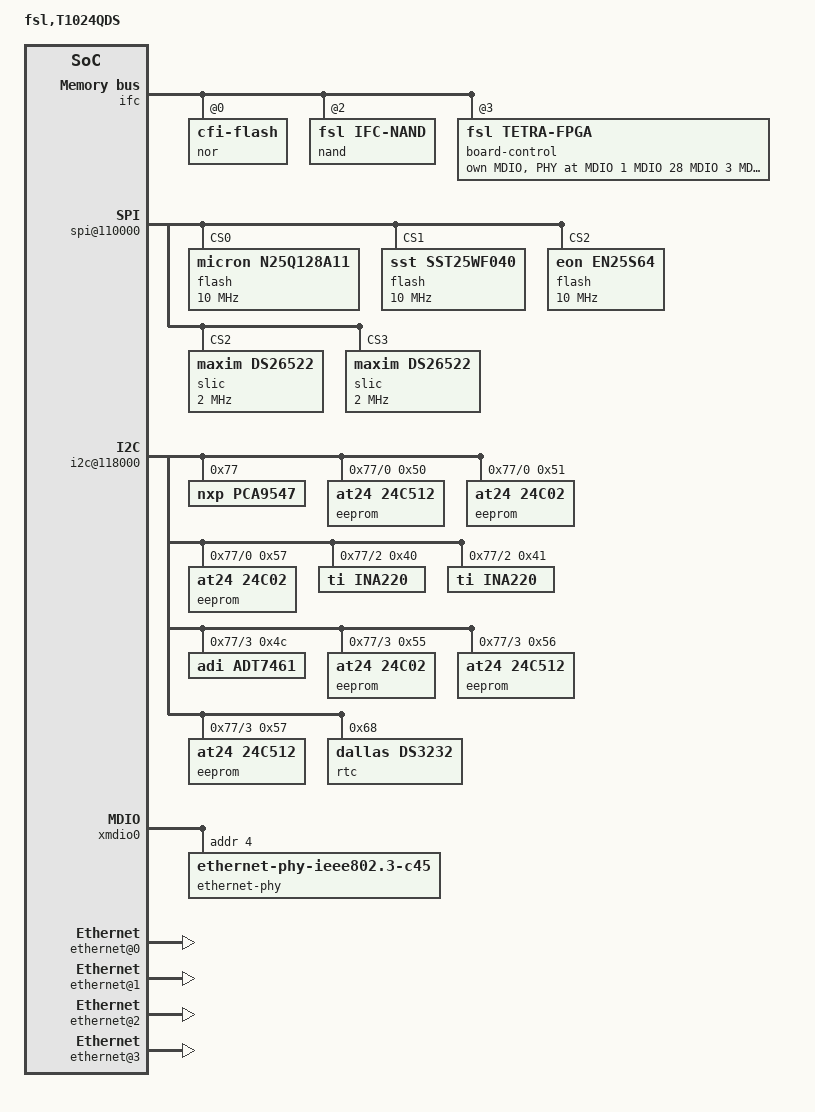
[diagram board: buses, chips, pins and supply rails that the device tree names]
/*
 * T1024/T1023 QDS Device Tree Source
 *
 * Copyright 2014 Freescale Semiconductor Inc.
 *
 * Redistribution and use in source and binary forms, with or without
 * modification, are permitted provided that the following conditions are met:
 *     * Redistributions of source code must retain the above copyright
 *	 notice, this list of conditions and the following disclaimer.
 *     * Redistributions in binary form must reproduce the above copyright
 *	 notice, this list of conditions and the following disclaimer in the
 *	 documentation and/or other materials provided with the distribution.
 *     * Neither the name of Freescale Semiconductor nor the
 *	 names of its contributors may be used to endorse or promote products
 *	 derived from this software without specific prior written permission.
 *
 *
 * ALTERNATIVELY, this software may be distributed under the terms of the
 * GNU General Public License ("GPL") as published by the Free Software
 * Foundation, either version 2 of that License or (at your option) any
 * later version.
 *
 * THIS SOFTWARE IS PROVIDED BY Freescale Semiconductor "AS IS" AND ANY
 * EXPRESS OR IMPLIED WARRANTIES, INCLUDING, BUT NOT LIMITED TO, THE IMPLIED
 * WARRANTIES OF MERCHANTABILITY AND FITNESS FOR A PARTICULAR PURPOSE ARE
 * DISCLAIMED. IN NO EVENT SHALL Freescale Semiconductor BE LIABLE FOR ANY
 * DIRECT, INDIRECT, INCIDENTAL, SPECIAL, EXEMPLARY, OR CONSEQUENTIAL DAMAGES
 * (INCLUDING, BUT NOT LIMITED TO, PROCUREMENT OF SUBSTITUTE GOODS OR SERVICES;
 * LOSS OF USE, DATA, OR PROFITS; OR BUSINESS INTERRUPTION) HOWEVER CAUSED AND
 * ON ANY THEORY OF LIABILITY, WHETHER IN CONTRACT, STRICT LIABILITY, OR TORT
 * (INCLUDING NEGLIGENCE OR OTHERWISE) ARISING IN ANY WAY OUT OF THE USE OF THIS
 * SOFTWARE, EVEN IF ADVISED OF THE POSSIBILITY OF SUCH DAMAGE.
 */

/ {
	model = "fsl,T1024QDS";
	compatible = "fsl,T1024QDS";
	#address-cells = <2>;
	#size-cells = <2>;
	interrupt-parent = <&mpic>;

	aliases {
		emi1_rgmii0 = &t1024mdio0;
		emi1_rgmii1 = &t1024mdio1;
		emi1_slot2 = &t1024mdio2;
		emi1_slot3 = &t1024mdio3;
		emi1_slot4 = &t1024mdio4;
		emi1_slot5 = &t1024mdio5;
		rgmii_phy1 = &rgmii_phy1;
		rgmii_phy2 = &rgmii_phy2;
		qsgmii_phy_p1 = &qsgmii_phy_p1;
		qsgmii_phy_p2 = &qsgmii_phy_p2;
		qsgmii_phy_p3 = &qsgmii_phy_p3;
		qsgmii_phy_p4 = &qsgmii_phy_p4;
		sgmii_aqr105_phy_s3 = &sgmii_aqr105_phy_s3;
		sgmii_aqr105_phy_s4 = &sgmii_aqr105_phy_s4;
		sgmii_aqr105_phy_s5 = &sgmii_aqr105_phy_s5;
		sgmii_vsc8234_phy_s3 = &sgmii_vsc8234_phy_s3;
		sgmii_vsc8234_phy_s4 = &sgmii_vsc8234_phy_s4;
		sgmii_vsc8234_phy_s5 = &sgmii_vsc8234_phy_s5;
	};

	ifc: localbus@ffe124000 {
		reg = <0xf 0xfe124000 0 0x2000>;
		ranges = <0 0 0xf 0xe8000000 0x08000000
			  2 0 0xf 0xff800000 0x00010000
			  3 0 0xf 0xffdf0000 0x00008000>;

		nor@0,0 {
			#address-cells = <1>;
			#size-cells = <1>;
			compatible = "cfi-flash";
			reg = <0x0 0x0 0x8000000>;
			bank-width = <2>;
			device-width = <1>;
		};

		nand@2,0 {
			#address-cells = <1>;
			#size-cells = <1>;
			compatible = "fsl,ifc-nand";
			reg = <0x2 0x0 0x10000>;
		};

		board-control@3,0 {
			#address-cells = <1>;
			#size-cells = <1>;
			compatible = "fsl,tetra-fpga", "fsl,fpga-qixis";
			reg = <3 0 0x300>;
			ranges = <0 3 0 0x300>;

			mdio-mux-emi1 {
				compatible = "mdio-mux-mmioreg", "mdio-mux";
				mdio-parent-bus = <&mdio0>;
				#address-cells = <1>;
				#size-cells = <0>;
				reg = <0x54 1>;    /* BRDCFG4 */
				mux-mask = <0xe0>; /* EMI1 */

				/* On-board RGMII1 PHY */
				t1024mdio0: mdio@0 {
					reg = <0x00>;
					#address-cells = <1>;
					#size-cells = <0>;

					rgmii_phy1: ethernet-phy@1 { /* MAC4 */
						reg = <0x1>;
					};
				};

				/* On-board RGMII2 PHY */
				t1024mdio1: mdio@20 {
					reg = <0x20>;
					#address-cells = <1>;
					#size-cells = <0>;
					status = "disabled";

					rgmii_phy2: ethernet-phy@2 { /* MAC3 */
						reg = <0x2>;
					};
				};

				/* Slot 2 */
				t1024mdio2: mdio@60 {
					reg = <0x60>;
					#address-cells = <1>;
					#size-cells = <0>;
					status = "disabled";

					qsgmii_phy_p1: ethernet-phy@8 {
						reg = <0x8>;
					};
					qsgmii_phy_p2: ethernet-phy@9 {
						reg = <0x9>;
					};
					qsgmii_phy_p3: ethernet-phy@a {
						reg = <0xa>;
					};
					qsgmii_phy_p4: ethernet-phy@b {
						reg = <0xb>;
					};
				};

				/* Slot 3 */
				t1024mdio3: mdio@80 {
					reg = <0x80>;
					#address-cells = <1>;
					#size-cells = <0>;

					sgmii_vsc8234_phy_s3: ethernet-phy@1c {
						reg = <0x1c>;
					};

					sgmii_aqr105_phy_s3: ethernet-phy@3 {
						reg = <0x3>;
					};
				};

				/* Slot 4 */
				t1024mdio4: mdio@a0 {
					reg = <0xa0>;
					#address-cells = <1>;
					#size-cells = <0>;

					sgmii_vsc8234_phy_s4: ethernet-phy@1c {
						reg = <0x1c>;
					};

					sgmii_aqr105_phy_s4: ethernet-phy@4 {
						reg = <0x4>;
					};
				};

				/* Slot 5 */
				t1024mdio5: mdio@c0 {
					reg = <0xc0>;
					#address-cells = <1>;
					#size-cells = <0>;

					sgmii_vsc8234_phy_s5: ethernet-phy@1c {
						reg = <0x1c>;
					};

					sgmii_aqr105_phy_s5: ethernet-phy@5 {
						reg = <0x5>;
					};
				};
			};
		};
	};

	memory {
		device_type = "memory";
	};

	dcsr: dcsr@f00000000 {
		ranges = <0x00000000 0xf 0x00000000 0x01072000>;
	};

	bportals: bman-portals@ff4000000 {
		ranges = <0x0 0xf 0xf4000000 0x2000000>;
	};

	qportals: qman-portals@ff6000000 {
		ranges = <0x0 0xf 0xf6000000 0x2000000>;
	};

	soc: soc@ffe000000 {
		ranges = <0x00000000 0xf 0xfe000000 0x1000000>;
		reg = <0xf 0xfe000000 0 0x00001000>;
		spi@110000 {
			flash@0 {
				#address-cells = <1>;
				#size-cells = <1>;
				compatible = "micron,n25q128a11", "jedec,spi-nor";  /* 16MB */
				reg = <0>;
				spi-max-frequency = <10000000>; /* input clock */
			};

			flash@1 {
				#address-cells = <1>;
				#size-cells = <1>;
				compatible = "sst,sst25wf040", "jedec,spi-nor";  /* 512KB */
				reg = <1>;
				spi-max-frequency = <10000000>; /* input clock */
			};

			flash@2 {
				#address-cells = <1>;
				#size-cells = <1>;
				compatible = "eon,en25s64", "jedec,spi-nor";   /* 8MB */
				reg = <2>;
				spi-max-frequency = <10000000>; /* input clock */
			};

			slic@2 {
				compatible = "maxim,ds26522";
				reg = <2>;
				spi-max-frequency = <2000000>;
			};

			slic@3 {
				compatible = "maxim,ds26522";
				reg = <3>;
				spi-max-frequency = <2000000>;
			};
		};

		i2c@118000 {
			pca9547@77 {
				compatible = "nxp,pca9547";
				reg = <0x77>;
				#address-cells = <1>;
				#size-cells = <0>;

				i2c@0 {
					#address-cells = <1>;
					#size-cells = <0>;
					reg = <0x0>;

					eeprom@50 {
						compatible = "at24,24c512";
						reg = <0x50>;
					};

					eeprom@51 {
						compatible = "at24,24c02";
						reg = <0x51>;
					};

					eeprom@57 {
						compatible = "at24,24c02";
						reg = <0x57>;
					};
				};

				i2c@2 {
					#address-cells = <1>;
					#size-cells = <0>;
					reg = <0x2>;

					ina220@40 {
						compatible = "ti,ina220";
						reg = <0x40>;
						shunt-resistor = <1000>;
					};

					ina220@41 {
						compatible = "ti,ina220";
						reg = <0x41>;
						shunt-resistor = <1000>;
					};
				};

				i2c@3 {
					#address-cells = <1>;
					#size-cells = <0>;
					reg = <0x3>;

					adt7461@4c {
						/* Thermal Monitor */
						compatible = "adi,adt7461";
						reg = <0x4c>;
					};

					eeprom@55 {
						compatible = "at24,24c02";
						reg = <0x55>;
					};

					eeprom@56 {
						compatible = "at24,24c512";
						reg = <0x56>;
					};

					eeprom@57 {
						compatible = "at24,24c512";
						reg = <0x57>;
					};
				};
			};
			rtc@68 {
				compatible = "dallas,ds3232";
				reg = <0x68>;
				interrupts = <0x5 0x1 0 0>;
			};
		};

		fman0: fman@400000 {
			rcpm-wakeup = <&rcpm 0x00000008>;

			fm1mac1: ethernet@e0000 {
				phy-handle = <&sgmii_aqr105_phy_s5>;
				phy-connection-type = "sgmii";
				rcpm-wakeup = <&rcpm 0x80000000>;
			};

			fm1mac2: ethernet@e2000 {
				phy-handle = <&sgmii_aqr105_phy_s4>;
				phy-connection-type = "sgmii";
				rcpm-wakeup = <&rcpm 0x40000000>;
			};

			fm1mac3: ethernet@e4000 {
				phy-handle = <&sgmii_vsc8234_phy_s3>;
				phy-connection-type = "sgmii";
				rcpm-wakeup = <&rcpm 0x20000000>;
			};

			fm1mac4: ethernet@e6000 {
				phy-handle = <&rgmii_phy1>;
				phy-connection-type = "rgmii";
				rcpm-wakeup = <&rcpm 0x10000000>;
			};

			mdio0: mdio@fc000 {
			};

			xmdio0: mdio@fd000 {
				ethernet-phy@4 {
					compatible = "ethernet-phy-ieee802.3-c45";
					reg = <0x4>;
				};
			};
		};
	};

	fsl,dpaa {
		compatible = "fsl,t1024-dpaa", "fsl,dpaa";
		ethernet@0 {
			compatible = "fsl,t1024-dpa-ethernet", "fsl,dpa-ethernet";
			fsl,fman-mac = <&fm1mac1>;
		};
		ethernet@1 {
			compatible = "fsl,t1024-dpa-ethernet", "fsl,dpa-ethernet";
			fsl,fman-mac = <&fm1mac2>;
		};
		ethernet@2 {
			compatible = "fsl,t1024-dpa-ethernet", "fsl,dpa-ethernet";
			fsl,fman-mac = <&fm1mac3>;
		};
		ethernet@3 {
			compatible = "fsl,t1024-dpa-ethernet", "fsl,dpa-ethernet";
			fsl,fman-mac = <&fm1mac4>;
		};
	};

	pci0: pcie@ffe240000 {
		reg = <0xf 0xfe240000 0 0x10000>;
		ranges = <0x02000000 0 0xe0000000 0xc 0x00000000 0x0 0x10000000
			  0x01000000 0 0x00000000 0xf 0xf8000000 0x0 0x00010000>;
		pcie@0 {
			ranges = <0x02000000 0 0xe0000000
				  0x02000000 0 0xe0000000
				  0 0x10000000

				  0x01000000 0 0x00000000
				  0x01000000 0 0x00000000
				  0 0x00010000>;
		};
	};

	pci1: pcie@ffe250000 {
		reg = <0xf 0xfe250000 0 0x10000>;
		ranges = <0x02000000 0x0 0xe0000000 0xc 0x10000000 0x0 0x10000000
			  0x01000000 0x0 0x00000000 0xf 0xf8010000 0x0 0x00010000>;
		pcie@0 {
			ranges = <0x02000000 0 0xe0000000
				  0x02000000 0 0xe0000000
				  0 0x10000000

				  0x01000000 0 0x00000000
				  0x01000000 0 0x00000000
				  0 0x00010000>;
		};
	};

	pci2: pcie@ffe260000 {
		reg = <0xf 0xfe260000 0 0x10000>;
		ranges = <0x02000000 0 0xe0000000 0xc 0x20000000 0 0x10000000
			  0x01000000 0 0x00000000 0xf 0xf8020000 0 0x00010000>;
		pcie@0 {
			ranges = <0x02000000 0 0xe0000000
				  0x02000000 0 0xe0000000
				  0 0x10000000

				  0x01000000 0 0x00000000
				  0x01000000 0 0x00000000
				  0 0x00010000>;
		};
	};
};
